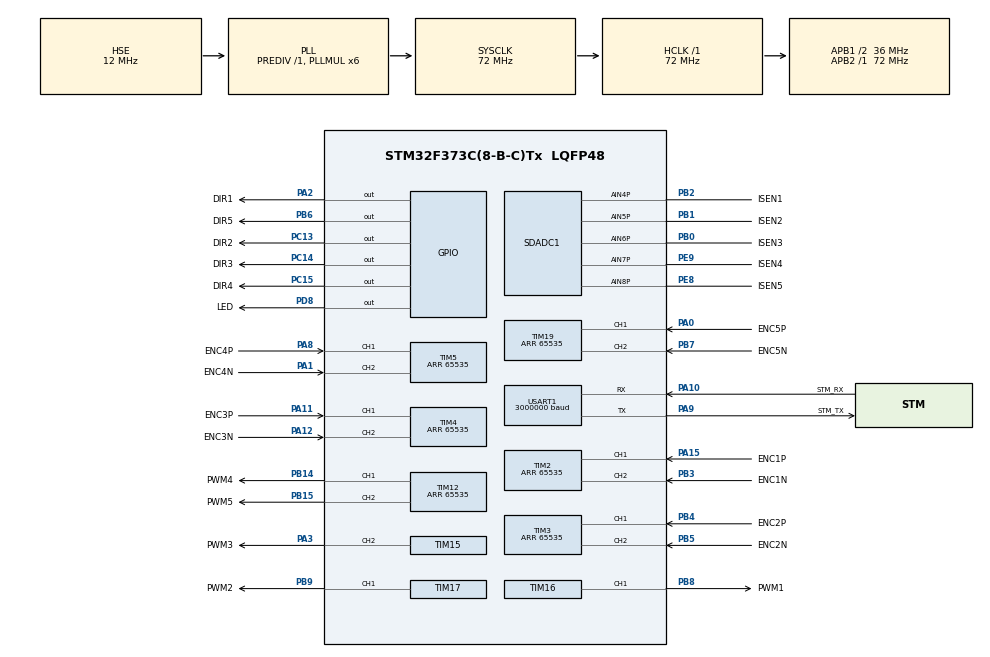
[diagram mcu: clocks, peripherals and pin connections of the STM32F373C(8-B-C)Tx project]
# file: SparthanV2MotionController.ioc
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Dma.Request0=USART1_RX
Dma.Request1=USART1_TX
Dma.Request2=SDADC1
Dma.SDADC1.2.Direction=DMA_PERIPH_TO_MEMORY
Dma.SDADC1.2.Instance=DMA2_Channel3
Dma.SDADC1.2.MemDataAlignment=DMA_MDATAALIGN_HALFWORD
Dma.SDADC1.2.MemInc=DMA_MINC_ENABLE
Dma.SDADC1.2.Mode=DMA_NORMAL
Dma.SDADC1.2.PeriphDataAlignment=DMA_PDATAALIGN_HALFWORD
Dma.SDADC1.2.PeriphInc=DMA_PINC_DISABLE
Dma.SDADC1.2.Priority=DMA_PRIORITY_LOW
Dma.USART1_RX.0.Direction=DMA_PERIPH_TO_MEMORY
Dma.USART1_RX.0.Instance=DMA1_Channel5
Dma.USART1_RX.0.MemDataAlignment=DMA_MDATAALIGN_BYTE
Dma.USART1_RX.0.MemInc=DMA_MINC_ENABLE
Dma.USART1_RX.0.Mode=DMA_NORMAL
Dma.USART1_RX.0.PeriphDataAlignment=DMA_PDATAALIGN_BYTE
Dma.USART1_RX.0.PeriphInc=DMA_PINC_DISABLE
Dma.USART1_RX.0.Priority=DMA_PRIORITY_MEDIUM
Dma.USART1_TX.1.Direction=DMA_MEMORY_TO_PERIPH
Dma.USART1_TX.1.Instance=DMA1_Channel4
Dma.USART1_TX.1.MemDataAlignment=DMA_MDATAALIGN_BYTE
Dma.USART1_TX.1.MemInc=DMA_MINC_ENABLE
Dma.USART1_TX.1.Mode=DMA_NORMAL
Dma.USART1_TX.1.PeriphDataAlignment=DMA_PDATAALIGN_BYTE
Dma.USART1_TX.1.PeriphInc=DMA_PINC_DISABLE
Dma.USART1_TX.1.Priority=DMA_PRIORITY_LOW
FREERTOS.Tasks01=defaultTask,0,128,StartDefaultTask,Default,NULL
Mcu.Family=STM32F3
Mcu.Name=STM32F373C(8-B-C)Tx
Mcu.Package=LQFP48
NVIC.DMA1_Channel4_IRQn=true\:5\:0\:false\:false\:true\:true\:false
NVIC.DMA1_Channel5_IRQn=true\:5\:0\:false\:false\:true\:true\:false
NVIC.DMA2_Channel3_IRQn=true\:5\:0\:false\:false\:true\:true\:false
NVIC.PriorityGroup=NVIC_PRIORITYGROUP_4
NVIC.TIM6_DAC1_IRQn=true\:0\:0\:false\:false\:true\:false\:false
NVIC.TimeBase=TIM6_DAC1_IRQn
NVIC.TimeBaseIP=TIM6
NVIC.USART1_IRQn=true\:5\:0\:false\:false\:true\:true\:true
PA0.GPIO_Label=ENC5P
PA0.Signal=S_TIM19_CH1
PA1.GPIO_Label=ENC4N
PA1.Signal=S_TIM5_CH2
PA10.GPIO_Label=STM_RX
PA10.Mode=Asynchronous
PA10.Signal=USART1_RX
PA11.GPIO_Label=ENC3P
PA11.Signal=S_TIM4_CH1
PA12.GPIO_Label=ENC3N
PA12.Signal=S_TIM4_CH2
PA13.Mode=Serial_Wire
PA13.Signal=SYS_JTMS-SWDIO
PA14.Mode=Serial_Wire
PA14.Signal=SYS_JTCK-SWCLK
PA15.GPIO_Label=ENC1P
PA15.Signal=S_TIM2_CH1_ETR
PA2.GPIO_Label=DIR1
PA2.Signal=GPIO_Output
PA3.GPIO_Label=PWM3
PA3.Signal=S_TIM15_CH2
PA8.GPIO_Label=ENC4P
PA8.Signal=S_TIM5_CH1_ETR
PA9.GPIO_Label=STM_TX
PA9.Mode=Asynchronous
PA9.Signal=USART1_TX
PB0.GPIO_Label=ISEN3
PB0.Mode=IN6-Single-Ended
PB0.Signal=SDADC1_AIN6P
PB1.GPIO_Label=ISEN2
PB1.Mode=IN5-Single-Ended
PB1.Signal=SDADC1_AIN5P
PB14.GPIO_Label=PWM4
PB14.Signal=S_TIM12_CH1
PB15.GPIO_Label=PWM5
PB15.Signal=S_TIM12_CH2
PB2.GPIO_Label=ISEN1
PB2.Mode=IN4-Single-Ended
PB2.Signal=SDADC1_AIN4P
PB3.GPIO_Label=ENC1N
PB3.Signal=S_TIM2_CH2
PB4.GPIO_Label=ENC2P
PB4.Signal=S_TIM3_CH1
PB5.GPIO_Label=ENC2N
PB5.Signal=S_TIM3_CH2
PB6.GPIO_Label=DIR5
PB6.Signal=GPIO_Output
PB7.GPIO_Label=ENC5N
PB7.Signal=S_TIM19_CH2
PB8.GPIO_Label=PWM1
PB8.Signal=S_TIM16_CH1
PB9.GPIO_Label=PWM2
PB9.Signal=S_TIM17_CH1
PC13.GPIO_Label=DIR2
PC13.Signal=GPIO_Output
PC14-OSC32_IN.GPIO_Label=DIR3
PC14-OSC32_IN.Signal=GPIO_Output
PC15-OSC32_OUT.GPIO_Label=DIR4
PC15-OSC32_OUT.Signal=GPIO_Output
PD8.GPIO_Label=LED
PD8.Signal=GPIO_Output
PE8.GPIO_Label=ISEN5
PE8.Mode=IN8-Single-Ended
PE8.Signal=SDADC1_AIN8P
PE9.GPIO_Label=ISEN4
PE9.Mode=IN7-Single-Ended
PE9.Signal=SDADC1_AIN7P
PF0-OSC_IN.Mode=HSE-External-Oscillator
PF0-OSC_IN.Signal=RCC_OSC_IN
PF1-OSC_OUT.Mode=HSE-External-Oscillator
PF1-OSC_OUT.Signal=RCC_OSC_OUT
ProjectManager.HeapSize=0x200
ProjectManager.StackSize=0x400
ProjectManager.TargetToolchain=Makefile
RCC.AHBFreq_Value=72000000
RCC.APB1CLKDivider=RCC_HCLK_DIV2
RCC.APB1Freq_Value=36000000
RCC.APB1TimFreq_Value=72000000
RCC.APB2Freq_Value=72000000
RCC.APB2TimFreq_Value=72000000
RCC.CortexFreq_Value=72000000
RCC.HCLKFreq_Value=72000000
RCC.HSE_VALUE=12000000
RCC.HSI_VALUE=8000000
RCC.LSE_VALUE=32768
RCC.PLLMUL=RCC_PLL_MUL6
RCC.PLLSourceVirtual=RCC_PLLSOURCE_HSE
RCC.SDADCPresc=RCC_SDADCSYSCLK_DIV12
RCC.SYSCLKFreq_VALUE=72000000
RCC.SYSCLKSource=RCC_SYSCLKSOURCE_PLLCLK
RCC.USBFreq_Value=72000000
SDADC1.CommonMode0=SDADC_COMMON_MODE_VSSA
SDADC1.ContinuousMode=SDADC_CONTINUOUS_CONV_ON
SDADC1.EnableInjectedConversion=DISABLE
SDADC1.EnableRegularconversion=ENABLE
SDADC1.FastConversionMode=SDADC_FAST_CONV_DISABLE
SDADC1.Gain0=SDADC_GAIN_1
SDADC1.IdleLowPowerMode=SDADC_LOWPOWER_NONE
SDADC1.InputMode0=SDADC_INPUT_MODE_SE_ZERO_REFERENCE
SDADC1.MultimodeType=__NULL
SDADC1.NbrOfConversionFlag=1
SDADC1.Offset0=0
SDADC1.ReferenceVoltage=SDADC_VREF_VREFINT2
SDADC1.SlowClockMode=SDADC_SLOW_CLOCK_DISABLE
SDADC1.Trigger=SDADC_SOFTWARE_TRIGGER
SH.S_TIM12_CH1.0=TIM12_CH1,PWM Generation1 CH1
SH.S_TIM12_CH2.0=TIM12_CH2,PWM Generation2 CH2
SH.S_TIM15_CH2.0=TIM15_CH2,PWM Generation2 CH2
SH.S_TIM16_CH1.0=TIM16_CH1,PWM Generation1 CH1
SH.S_TIM17_CH1.0=TIM17_CH1,PWM Generation1 CH1
SH.S_TIM19_CH1.0=TIM19_CH1,Encoder_Interface
SH.S_TIM19_CH2.0=TIM19_CH2,Encoder_Interface
SH.S_TIM2_CH1_ETR.0=TIM2_CH1,Encoder_Interface
SH.S_TIM2_CH2.0=TIM2_CH2,Encoder_Interface
SH.S_TIM3_CH1.0=TIM3_CH1,Encoder_Interface
SH.S_TIM3_CH2.0=TIM3_CH2,Encoder_Interface
SH.S_TIM4_CH1.0=TIM4_CH1,Encoder_Interface
SH.S_TIM4_CH2.0=TIM4_CH2,Encoder_Interface
SH.S_TIM5_CH1_ETR.0=TIM5_CH1,Encoder_Interface
SH.S_TIM5_CH2.0=TIM5_CH2,Encoder_Interface
TIM12.Channel-PWM\ Generation1\ CH1=TIM_CHANNEL_1
TIM12.Channel-PWM\ Generation2\ CH2=TIM_CHANNEL_2
TIM12.Period=65535
TIM15.Channel-PWM\ Generation2\ CH2=TIM_CHANNEL_2
TIM15.Period=65535
TIM16.Channel=TIM_CHANNEL_1
TIM16.Period=65535
TIM17.Channel=TIM_CHANNEL_1
TIM17.Period=65535
TIM19.Period=65535
TIM2.Period=65535
TIM3.Period=65535
TIM4.Period=65535
TIM5.Period=65535
USART1.BaudRate=3000000
USART1.VirtualMode-Asynchronous=VM_ASYNC
VP_FREERTOS_VS_ENABLE.Mode=Enabled
VP_SDADC1_CONF0.Mode=ConfigZero
VP_SYS_VS_tim6.Mode=TIM6
VP_TIM16_VS_ClockSourceINT.Mode=Enable_Timer
VP_TIM17_VS_ClockSourceINT.Mode=Enable_Timer
board=custom

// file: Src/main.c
/**
  ******************************************************************************
  * @file           : main.c
  * @brief          : Main program body
  ******************************************************************************
  * This notice applies to any and all portions of this file
  * that are not between comment pairs USER CODE BEGIN and
  * USER CODE END. Other portions of this file, whether
  * inserted by the user or by software development tools
  * are owned by their respective copyright owners.
  *
  * Copyright (c) 2018 STMicroelectronics International N.V.
  * All rights reserved.
  *
  * Redistribution and use in source and binary forms, with or without
  * modification, are permitted, provided that the following conditions are met:
  *
  * 1. Redistribution of source code must retain the above copyright notice,
  *    this list of conditions and the following disclaimer.
  * 2. Redistributions in binary form must reproduce the above copyright notice,
  *    this list of conditions and the following disclaimer in the documentation
  *    and/or other materials provided with the distribution.
  * 3. Neither the name of STMicroelectronics nor the names of other
  *    contributors to this software may be used to endorse or promote products
  *    derived from this software without specific written permission.
  * 4. This software, including modifications and/or derivative works of this
  *    software, must execute solely and exclusively on microcontroller or
  *    microprocessor devices manufactured by or for STMicroelectronics.
  * 5. Redistribution and use of this software other than as permitted under
  *    this license is void and will automatically terminate your rights under
  *    this license.
  *
  * THIS SOFTWARE IS PROVIDED BY STMICROELECTRONICS AND CONTRIBUTORS "AS IS"
  * AND ANY EXPRESS, IMPLIED OR STATUTORY WARRANTIES, INCLUDING, BUT NOT
  * LIMITED TO, THE IMPLIED WARRANTIES OF MERCHANTABILITY, FITNESS FOR A
  * PARTICULAR PURPOSE AND NON-INFRINGEMENT OF THIRD PARTY INTELLECTUAL PROPERTY
  * RIGHTS ARE DISCLAIMED TO THE FULLEST EXTENT PERMITTED BY LAW. IN NO EVENT
  * SHALL STMICROELECTRONICS OR CONTRIBUTORS BE LIABLE FOR ANY DIRECT, INDIRECT,
  * INCIDENTAL, SPECIAL, EXEMPLARY, OR CONSEQUENTIAL DAMAGES (INCLUDING, BUT NOT
  * LIMITED TO, PROCUREMENT OF SUBSTITUTE GOODS OR SERVICES; LOSS OF USE, DATA,
  * OR PROFITS; OR BUSINESS INTERRUPTION) HOWEVER CAUSED AND ON ANY THEORY OF
  * LIABILITY, WHETHER IN CONTRACT, STRICT LIABILITY, OR TORT (INCLUDING
  * NEGLIGENCE OR OTHERWISE) ARISING IN ANY WAY OUT OF THE USE OF THIS SOFTWARE,
  * EVEN IF ADVISED OF THE POSSIBILITY OF SUCH DAMAGE.
  *
  ******************************************************************************
  */
#include "main.h"
#include "stm32f3xx_hal.h"
#include "cmsis_os.h"
#include "dma.h"
#include "sdadc.h"
#include "tim.h"
#include "usart.h"
#include "gpio.h"

/* USER CODE BEGIN PV */
/* Private variables ---------------------------------------------------------*/
//#define DBGMCU_APB1_FZ_DBG_TIM6_STOP
/* USER CODE END PV */

void SystemClock_Config(void);
void MX_FREERTOS_Init(void);

/* USER CODE BEGIN PFP */
/* Private function prototypes -----------------------------------------------*/

/* USER CODE END PFP */

int main(void)
{

  /* MCU Configuration----------------------------------------------------------*/

  /* Reset of all peripherals, Initializes the Flash interface and the Systick. */
  HAL_Init();

  /* Configure the system clock */
  SystemClock_Config();

  /* USER CODE BEGIN SysInit */
  //HAL_SuspendTick();
  /* USER CODE END SysInit */

  /* Initialize all configured peripherals */
  MX_GPIO_Init();
  MX_DMA_Init();
  MX_SDADC1_Init();
  MX_TIM2_Init();
  MX_TIM3_Init();
  MX_TIM4_Init();
  MX_TIM5_Init();
  MX_TIM12_Init();
  MX_TIM19_Init();
  MX_USART1_UART_Init();
  MX_TIM17_Init();
  MX_TIM16_Init();
  MX_TIM15_Init();

  /* Call init function for freertos objects (in freertos.c) */
  MX_FREERTOS_Init();

  /* Start scheduler */
  osKernelStart();

  /* We should never get here as control is now taken by the scheduler */

  /* Infinite loop */
  while (1)
  {

  }

}

void SystemClock_Config(void)
{

  RCC_OscInitTypeDef RCC_OscInitStruct;
  RCC_ClkInitTypeDef RCC_ClkInitStruct;
  RCC_PeriphCLKInitTypeDef PeriphClkInit;

    /**Initializes the CPU, AHB and APB busses clocks
    */
  RCC_OscInitStruct.OscillatorType = RCC_OSCILLATORTYPE_HSE;
  RCC_OscInitStruct.HSEState = RCC_HSE_ON;
  RCC_OscInitStruct.HSEPredivValue = RCC_HSE_PREDIV_DIV1;
  RCC_OscInitStruct.HSIState = RCC_HSI_ON;
  RCC_OscInitStruct.PLL.PLLState = RCC_PLL_ON;
  RCC_OscInitStruct.PLL.PLLSource = RCC_PLLSOURCE_HSE;
  RCC_OscInitStruct.PLL.PLLMUL = RCC_PLL_MUL6;
  if (HAL_RCC_OscConfig(&RCC_OscInitStruct) != HAL_OK)
  {
    _Error_Handler(__FILE__, __LINE__);
  }

    /**Initializes the CPU, AHB and APB busses clocks
    */
  RCC_ClkInitStruct.ClockType = RCC_CLOCKTYPE_HCLK|RCC_CLOCKTYPE_SYSCLK
                              |RCC_CLOCKTYPE_PCLK1|RCC_CLOCKTYPE_PCLK2;
  RCC_ClkInitStruct.SYSCLKSource = RCC_SYSCLKSOURCE_PLLCLK;
  RCC_ClkInitStruct.AHBCLKDivider = RCC_SYSCLK_DIV1;
  RCC_ClkInitStruct.APB1CLKDivider = RCC_HCLK_DIV2;
  RCC_ClkInitStruct.APB2CLKDivider = RCC_HCLK_DIV1;

  if (HAL_RCC_ClockConfig(&RCC_ClkInitStruct, FLASH_LATENCY_2) != HAL_OK)
  {
    _Error_Handler(__FILE__, __LINE__);
  }

  PeriphClkInit.PeriphClockSelection = RCC_PERIPHCLK_USART1|RCC_PERIPHCLK_SDADC;
  PeriphClkInit.Usart1ClockSelection = RCC_USART1CLKSOURCE_PCLK2;
  PeriphClkInit.SdadcClockSelection = RCC_SDADCSYSCLK_DIV12;
  if (HAL_RCCEx_PeriphCLKConfig(&PeriphClkInit) != HAL_OK)
  {
    _Error_Handler(__FILE__, __LINE__);
  }

  HAL_PWREx_EnableSDADC(PWR_SDADC_ANALOG1);

    /**Configure the Systick interrupt time
    */
  HAL_SYSTICK_Config(HAL_RCC_GetHCLKFreq()/1000);

    /**Configure the Systick
    */
  HAL_SYSTICK_CLKSourceConfig(SYSTICK_CLKSOURCE_HCLK);

  /* SysTick_IRQn interrupt configuration */
  HAL_NVIC_SetPriority(SysTick_IRQn, 15, 0);
}

void HAL_TIM_PeriodElapsedCallback(TIM_HandleTypeDef *htim)
{
  if (htim->Instance == TIM6) {
    HAL_IncTick();
  }
}

void _Error_Handler(char *file, int line)
{
  while(1)
  {
  }
}

/************************ (C) COPYRIGHT STMicroelectronics *****END OF FILE****/

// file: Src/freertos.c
/* USER CODE BEGIN Header */
/**
  ******************************************************************************
  * File Name          : freertos.c
  * Description        : Code for freertos applications
  ******************************************************************************
  * This notice applies to any and all portions of this file
  * that are not between comment pairs USER CODE BEGIN and
  * USER CODE END. Other portions of this file, whether
  * inserted by the user or by software development tools
  * are owned by their respective copyright owners.
  *
  * Copyright (c) 2018 STMicroelectronics International N.V.
  * All rights reserved.
  *
  * Redistribution and use in source and binary forms, with or without
  * modification, are permitted, provided that the following conditions are met:
  *
  * 1. Redistribution of source code must retain the above copyright notice,
  *    this list of conditions and the following disclaimer.
  * 2. Redistributions in binary form must reproduce the above copyright notice,
  *    this list of conditions and the following disclaimer in the documentation
  *    and/or other materials provided with the distribution.
  * 3. Neither the name of STMicroelectronics nor the names of other
  *    contributors to this software may be used to endorse or promote products
  *    derived from this software without specific written permission.
  * 4. This software, including modifications and/or derivative works of this
  *    software, must execute solely and exclusively on microcontroller or
  *    microprocessor devices manufactured by or for STMicroelectronics.
  * 5. Redistribution and use of this software other than as permitted under
  *    this license is void and will automatically terminate your rights under
  *    this license.
  *
  * THIS SOFTWARE IS PROVIDED BY STMICROELECTRONICS AND CONTRIBUTORS "AS IS"
  * AND ANY EXPRESS, IMPLIED OR STATUTORY WARRANTIES, INCLUDING, BUT NOT
  * LIMITED TO, THE IMPLIED WARRANTIES OF MERCHANTABILITY, FITNESS FOR A
  * PARTICULAR PURPOSE AND NON-INFRINGEMENT OF THIRD PARTY INTELLECTUAL PROPERTY
  * RIGHTS ARE DISCLAIMED TO THE FULLEST EXTENT PERMITTED BY LAW. IN NO EVENT
  * SHALL STMICROELECTRONICS OR CONTRIBUTORS BE LIABLE FOR ANY DIRECT, INDIRECT,
  * INCIDENTAL, SPECIAL, EXEMPLARY, OR CONSEQUENTIAL DAMAGES (INCLUDING, BUT NOT
  * LIMITED TO, PROCUREMENT OF SUBSTITUTE GOODS OR SERVICES; LOSS OF USE, DATA,
  * OR PROFITS; OR BUSINESS INTERRUPTION) HOWEVER CAUSED AND ON ANY THEORY OF
  * LIABILITY, WHETHER IN CONTRACT, STRICT LIABILITY, OR TORT (INCLUDING
  * NEGLIGENCE OR OTHERWISE) ARISING IN ANY WAY OUT OF THE USE OF THIS SOFTWARE,
  * EVEN IF ADVISED OF THE POSSIBILITY OF SUCH DAMAGE.
  *
  ******************************************************************************
  */
/* USER CODE END Header */

#include "FreeRTOS.h"
#include "task.h"
#include "main.h"
#include "cmsis_os.h"

/* USER CODE BEGIN Includes */
#include "stm32f3xx_hal.h"
#include "usart.h"

#include "string.h"
#include <stdlib.h>
/* USER CODE END Includes */

/* USER CODE BEGIN Variables */
extern TIM_HandleTypeDef htim2;
extern TIM_HandleTypeDef htim3;
extern TIM_HandleTypeDef htim4;
extern TIM_HandleTypeDef htim5;
extern TIM_HandleTypeDef htim12;
extern TIM_HandleTypeDef htim15;
extern TIM_HandleTypeDef htim16;
extern TIM_HandleTypeDef htim17;
extern TIM_HandleTypeDef htim19;

uint16_t encoderCount[5];

/* Single byte to store input */
uint8_t byte;
uint16_t dutyCycle[5] = {0,0,0,0,0};
uint8_t direction = 0;

/* USER CODE END Variables */
osThreadId defaultTaskHandle;

/* USER CODE BEGIN FunctionPrototypes */

/* Debugginf functions for the UART */
void debugPrint(UART_HandleTypeDef *huart, char _out[]){
  HAL_UART_Transmit(huart, (uint8_t *) _out, strlen(_out), 10);
}
void debugPrintln(UART_HandleTypeDef *huart, char _out[]){
       HAL_UART_Transmit(huart, (uint8_t *) _out, strlen(_out), 10);
       char newline[2] = "\r\n";
       HAL_UART_Transmit(huart, (uint8_t *) newline, 2, 10);
}

/* Set callback called by the HAL_UART_IRQHandler */
void HAL_UART_RxCpltCallback(UART_HandleTypeDef *huart)
{
  if (huart->Instance == USART1)
  {
    /* Receive one byte in interrupt mode */
    HAL_UART_Receive_IT(&huart1, &byte, 1);
    if (byte == 's'){
      for (int i = 0; i<5; i++)
        dutyCycle[i] = 65000;
      direction = 1;
    }
    else if (byte == 'n'){
      for (int i = 0; i<5; i++)
        dutyCycle[i] = 65000;
      direction = 0;
      debugPrintln(&huart1, "OK");
    }
    else if (byte == 't'){
      for (int i = 0; i<5; i++)
        dutyCycle[i] = 0;
      debugPrintln(&huart1, "OK");
    }
  }
}
/* USER CODE END FunctionPrototypes */

void StartDefaultTask(void const * argument);

void MX_FREERTOS_Init(void); /* (MISRA C 2004 rule 8.1) */

void MX_FREERTOS_Init(void) {

  /* Create the thread(s) */
  /* definition and creation of defaultTask */
  osThreadDef(defaultTask, StartDefaultTask, osPriorityNormal, 0, 128);
  defaultTaskHandle = osThreadCreate(osThread(defaultTask), NULL);

}

void StartDefaultTask(void const * argument)
{

  /* USER CODE BEGIN StartDefaultTask */

  /* Setup interrupt routine for USART communication */
  HAL_UART_Receive_IT(&huart1, &byte, 1);

  /* Initialize encoder and motors */
  HAL_TIM_Encoder_Start(&htim2, TIM_CHANNEL_1);
  HAL_TIM_Encoder_Start(&htim2, TIM_CHANNEL_2);
  HAL_TIM_Encoder_Start(&htim3, TIM_CHANNEL_1);
  HAL_TIM_Encoder_Start(&htim3, TIM_CHANNEL_2);
  HAL_TIM_Encoder_Start(&htim4, TIM_CHANNEL_1);
  HAL_TIM_Encoder_Start(&htim4, TIM_CHANNEL_2);
  HAL_TIM_Encoder_Start(&htim5, TIM_CHANNEL_1);
  HAL_TIM_Encoder_Start(&htim5, TIM_CHANNEL_2);
  HAL_TIM_Encoder_Start(&htim19, TIM_CHANNEL_1);
  HAL_TIM_Encoder_Start(&htim19, TIM_CHANNEL_2);
  HAL_TIM_PWM_Start(&htim12, TIM_CHANNEL_1);
  HAL_TIM_PWM_Start(&htim12, TIM_CHANNEL_2);
  HAL_TIM_PWM_Start(&htim15, TIM_CHANNEL_2);
  HAL_TIM_PWM_Start(&htim16, TIM_CHANNEL_1);
  HAL_TIM_PWM_Start(&htim17, TIM_CHANNEL_1);
  HAL_GPIO_WritePin(DIR1_GPIO_Port, DIR1_Pin, GPIO_PIN_SET);
  HAL_GPIO_WritePin(DIR2_GPIO_Port, DIR2_Pin, GPIO_PIN_SET);
  HAL_GPIO_WritePin(DIR3_GPIO_Port, DIR3_Pin, GPIO_PIN_SET);
  HAL_GPIO_WritePin(DIR4_GPIO_Port, DIR4_Pin, GPIO_PIN_SET);
  HAL_GPIO_WritePin(DIR5_GPIO_Port, DIR5_Pin, GPIO_PIN_SET);

  /* Infinite loop */
  for(;;)
  {

    HAL_GPIO_TogglePin(LED_GPIO_Port, LED_Pin);
    HAL_GPIO_WritePin(DIR1_GPIO_Port, DIR1_Pin, direction);
    HAL_GPIO_WritePin(DIR2_GPIO_Port, DIR2_Pin, direction);
    HAL_GPIO_WritePin(DIR3_GPIO_Port, DIR3_Pin, direction);
    HAL_GPIO_WritePin(DIR4_GPIO_Port, DIR4_Pin, direction);
    HAL_GPIO_WritePin(DIR5_GPIO_Port, DIR5_Pin, direction);

    __HAL_TIM_SET_COMPARE(&htim16, TIM_CHANNEL_1, dutyCycle[0]);     //Motor 1
    __HAL_TIM_SET_COMPARE(&htim17, TIM_CHANNEL_1, dutyCycle[1]);     //Motor 2
    __HAL_TIM_SET_COMPARE(&htim15, TIM_CHANNEL_2, dutyCycle[2]);     //Motor 3
    __HAL_TIM_SET_COMPARE(&htim12, TIM_CHANNEL_1, dutyCycle[3]);     //Motor 4
    __HAL_TIM_SET_COMPARE(&htim12, TIM_CHANNEL_2, dutyCycle[4]);     //Motor 5
    encoderCount[0] = __HAL_TIM_GET_COUNTER(&htim2);              //Motor 1
    encoderCount[1] = __HAL_TIM_GET_COUNTER(&htim3);              //Motor 2
    encoderCount[2] = __HAL_TIM_GET_COUNTER(&htim4);              //Motor 3
    encoderCount[3] = __HAL_TIM_GET_COUNTER(&htim5);              //Motor 4
    encoderCount[4] = __HAL_TIM_GET_COUNTER(&htim19);             //Motor 5

    // Debug output
    debugPrint(&huart1, "Encoder Position: "); // print full line
    char out [64];
    for (int i = 0; i < 5; i++){
      out [6*i] = '0' + (encoderCount[i]/10000)%10;
      out [6*i+1] = '0' + (encoderCount[i]/1000)%10;
      out [6*i+2] = '0' + (encoderCount[i]/100)%10;
      out [6*i+3] = '0' + (encoderCount[i]/10)%10;
      out [6*i+4] = '0' + encoderCount[i]%10;
      out [6*i+5] = ' ';
    }
    debugPrintln(&huart1, out); // print full line

    osDelay(100);
  }
  /* USER CODE END StartDefaultTask */
}

/************************ (C) COPYRIGHT STMicroelectronics *****END OF FILE****/
